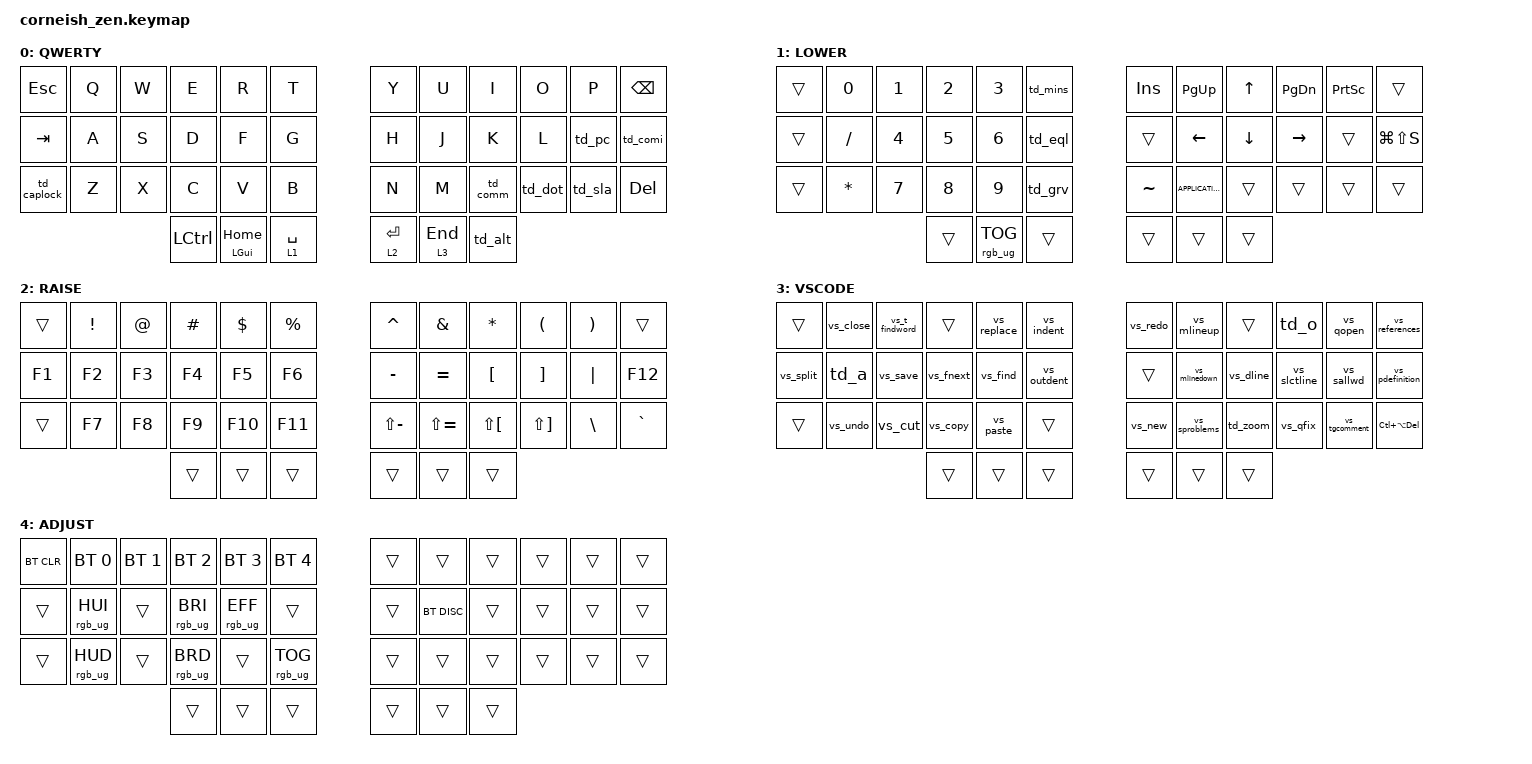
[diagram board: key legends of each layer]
#include <behaviors.dtsi>
#include <dt-bindings/zmk/keys.h>
#include "vscode_macros.dtsi"
#include "custom_behaviors.dtsi"
#include <dt-bindings/zmk/rgb.h>
#include <dt-bindings/zmk/bt.h>
#include <dt-bindings/led/led.h>
#include <dt-bindings/zmk/backlight.h>


/ {
  keymap {
    compatible = "zmk,keymap";

    /* ---------- Layers (con labels) ---------- */

    qwerty_layer: QWERTY {
      bindings = <
        &kp ESC      &kp Q      &kp W      &kp E      &kp R      &kp T              &kp Y      &kp U      &kp I       &kp O       &kp P        &kp BACKSPACE
        &kp TAB      &kp A      &kp S      &kp D      &kp F      &kp G              &kp H      &kp J      &kp K       &kp L       &td_pc       &td_comi
        &td_caplock  &kp Z      &kp X      &kp C      &kp V      &kp B              &kp N      &kp M      &td_comm    &td_dot     &td_sla      &kp DEL
                                &kp LCTL    &mt LGUI HOME    &lt 1 SPACE      &lt 2 ENTER    &lt 3 END    &td_alt



      >;
    };

    lower_layer: LOWER {
      bindings = <
        &trans   &kp N0   &kp N1   &kp N2   &kp N3   &td_mins          &kp INSERT  &kp PAGE_UP  &kp UP     &kp PAGE_DOWN  &kp PSCRN  &trans
        &trans   &kp SLASH &kp N4  &kp N5   &kp N6   &td_eql           &trans      &kp LEFT     &kp DOWN   &kp RIGHT      &trans   &kp LG(LS(S))
        &trans   &kp ASTERISK &kp N7 &kp N8 &kp N9   &td_grv           &kp TILDE &kp K_APPLICATION &trans  &trans   &trans   &trans
                                &trans &rgb_ug RGB_TOG &trans  &trans  &trans &trans
      >;
    };

    raise_layer: RAISE {
      bindings = <
        &trans  &kp EXCL   &kp AT     &kp HASH   &kp DOLLAR  &kp PERCENT     &kp CARET  &kp AMPS   &kp ASTERISK  &kp LPAR   &kp RPAR   &trans
        &kp F1  &kp F2     &kp F3     &kp F4     &kp F5      &kp F6          &kp MINUS  &kp EQUAL  &kp LBKT     &kp RBKT   &kp PIPE  &kp F12
        &trans  &kp F7     &kp F8     &kp F9     &kp F10     &kp F11         &kp LS(MINUS)  &kp LS(EQUAL)  &kp LS(LBKT)  &kp LS(RBKT)  &kp BSLH  &kp GRAVE
                          &trans  &trans  &trans   &trans   &trans  &trans
      >;
    };

    vscode_layer: VSCODE {
      bindings = <
        &trans  &vs_close  &vs_t_findword  &trans &vs_replace  &vs_indent       &vs_redo  &vs_mlineup  &trans  &td_o  &vs_qopen   &vs_references
        &vs_split   &td_a   &vs_save  &vs_fnext &vs_find   &vs_outdent          &trans   &vs_mlinedown   &vs_dline &vs_slctline   &vs_sallwd    &vs_pdefinition
        &trans    &vs_undo   &vs_cut   &vs_copy  &vs_paste    &trans            &vs_new   &vs_sproblems   &td_zoom  &vs_qfix      &vs_tgcomment &kp LC(LA(DEL))
                              &trans &trans &trans  &trans  &trans &trans
      >;
    };

    adjust_layer: ADJUST {
      bindings = <
        &bt BT_CLR  &bt BT_SEL 0     &bt BT_SEL 1     &bt BT_SEL 2  &bt BT_SEL 3 &bt BT_SEL 4           &trans     &trans       &trans     &trans   &trans   &trans
        &trans   &rgb_ug RGB_HUI  &trans  &rgb_ug RGB_BRI   &rgb_ug RGB_EFF    &trans                           &trans   &bt BT_DISC      &trans     &trans   &trans    &trans
        &trans   &rgb_ug RGB_HUD  &trans  &rgb_ug RGB_BRD  &trans     &rgb_ug RGB_TOG                   &trans    &trans          &trans      &trans    &trans   &trans
                                &trans  &trans  &trans   &trans   &trans  &trans
      >;
    };
  };

     /* ---------- Tri-layer: LOWER + RAISE => ADJUST ---------- */
    conditional_layers {
      compatible = "zmk,conditional-layers";
      tri {
        if-layers = <1 2>;
        then-layer = <4>;
      };
    };
  };

